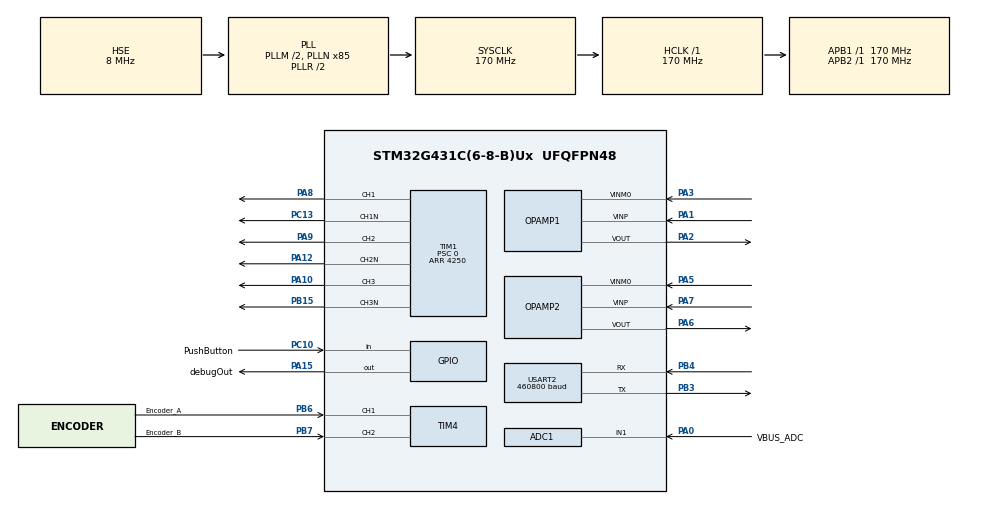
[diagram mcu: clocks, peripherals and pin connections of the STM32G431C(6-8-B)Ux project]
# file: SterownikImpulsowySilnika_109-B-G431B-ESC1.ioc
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ADC1.Channel-8\#ChannelRegularConversion=ADC_CHANNEL_1
ADC1.ClockPrescaler=ADC_CLOCK_ASYNC_DIV1
ADC1.ContinuousConvMode=DISABLE
ADC1.DMAContinuousRequests=DISABLE
ADC1.EnableInjectedConversion=ENABLE
ADC1.EnableRegularConversion=ENABLE
ADC1.ExternalTrigInjecConv=ADC_EXTERNALTRIGINJEC_T1_CC4
ADC1.InjNumberOfConversion=1
ADC1.InjectedChannel-6\#ChannelInjectedConversion=ADC_CHANNEL_3
ADC1.InjectedOffsetNumber-6\#ChannelInjectedConversion=ADC_OFFSET_NONE
ADC1.InjectedRank-6\#ChannelInjectedConversion=1
ADC1.InjectedSamplingTime-6\#ChannelInjectedConversion=ADC_SAMPLETIME_2CYCLES_5
ADC1.Mode=ADC_DUALMODE_REGSIMULT_INJECSIMULT
ADC1.NbrOfConversionFlag=1
ADC1.OffsetNumber-8\#ChannelRegularConversion=ADC_OFFSET_NONE
ADC1.Rank-8\#ChannelRegularConversion=1
ADC1.SamplingTime-8\#ChannelRegularConversion=ADC_SAMPLETIME_640CYCLES_5
ADC1.master=1
ADC2.ClockPrescaler=ADC_CLOCK_ASYNC_DIV1
ADC2.EnableInjectedConversion=ENABLE
ADC2.EnableRegularConversion=DISABLE
ADC2.InjNumberOfConversion=1
ADC2.InjectedChannel-8\#ChannelInjectedConversion=ADC_CHANNEL_3
ADC2.InjectedOffsetNumber-8\#ChannelInjectedConversion=ADC_OFFSET_NONE
ADC2.InjectedRank-8\#ChannelInjectedConversion=1
ADC2.InjectedSamplingTime-8\#ChannelInjectedConversion=ADC_SAMPLETIME_2CYCLES_5
ADC2.Mode=ADC_DUALMODE_REGSIMULT_INJECSIMULT
ADC2.Rank1_Channel=ADC_CHANNEL_3
Mcu.Family=STM32G4
Mcu.Name=STM32G431C(6-8-B)Ux
Mcu.Package=UFQFPN48
NVIC.ADC1_2_IRQn=true\:4\:0\:true\:false\:true\:true\:true\:true
NVIC.PriorityGroup=NVIC_PRIORITYGROUP_4
NVIC.TIM1_BRK_TIM15_IRQn=true\:4\:0\:true\:false\:true\:true\:true\:true
NVIC.TIM1_CC_IRQn=true\:4\:0\:true\:false\:true\:true\:true\:true
NVIC.TIM1_TRG_COM_TIM17_IRQn=true\:4\:0\:true\:false\:true\:true\:true\:true
NVIC.TIM1_UP_TIM16_IRQn=true\:4\:0\:true\:false\:true\:true\:true\:true
NVIC.TIM2_IRQn=true\:0\:0\:false\:false\:true\:true\:true\:true
NVIC.TIM4_IRQn=true\:0\:0\:false\:false\:true\:true\:true\:true
NVIC.USART2_IRQn=true\:8\:0\:true\:false\:true\:true\:true\:true
OPAMP1.PgaGain=OPAMP_PGA_GAIN_16_OR_MINUS_15
OPAMP2.PgaGain=OPAMP_PGA_GAIN_16_OR_MINUS_15
PA0.GPIO_Label=VBUS_ADC
PA0.Mode=IN1-Single-Ended
PA0.Signal=ADC1_IN1
PA1.Mode=PGA Connected-INVERTINGINPUT_IO0_BIAS
PA1.Signal=OPAMP1_VINP
PA10.Signal=S_TIM1_CH3
PA12.Mode=PWM Generation2 CH2 CH2N
PA12.Signal=TIM1_CH2N
PA13.Mode=Serial_Wire
PA13.Signal=SYS_JTMS-SWDIO
PA14.Mode=Serial_Wire
PA14.Signal=SYS_JTCK-SWCLK
PA15.GPIO_Label=debugOut
PA15.Signal=GPIO_Output
PA2.Signal=SharedAnalog_PA2
PA3.Mode=PGA Connected-INVERTINGINPUT_IO0_BIAS
PA3.Signal=OPAMP1_VINM0
PA5.Mode=PGA Connected-INVERTINGINPUT_IO0_BIAS
PA5.Signal=OPAMP2_VINM0
PA6.Signal=SharedAnalog_PA6
PA7.Mode=PGA Connected-INVERTINGINPUT_IO0_BIAS
PA7.Signal=OPAMP2_VINP
PA8.Signal=S_TIM1_CH1
PA9.Signal=S_TIM1_CH2
PB15.Mode=PWM Generation3 CH3 CH3N
PB15.Signal=TIM1_CH3N
PB3.Mode=Asynchronous
PB3.Signal=USART2_TX
PB4.Mode=Asynchronous
PB4.Signal=USART2_RX
PB6.GPIO_Label=Encoder_A
PB6.Signal=S_TIM4_CH1
PB7.GPIO_Label=Encoder_B
PB7.Signal=S_TIM4_CH2
PC10.GPIO_Label=PushButton
PC10.Signal=GPIO_Input
PC13.Mode=PWM Generation1 CH1 CH1N
PC13.Signal=TIM1_CH1N
PF0-OSC_IN.Mode=HSE-External-Oscillator
PF0-OSC_IN.Signal=RCC_OSC_IN
PF1-OSC_OUT.Mode=HSE-External-Oscillator
PF1-OSC_OUT.Signal=RCC_OSC_OUT
ProjectManager.HeapSize=0x200
ProjectManager.StackSize=0x400
ProjectManager.TargetToolchain=STM32CubeIDE
RCC.ADC12CLockSelection=RCC_ADC12CLKSOURCE_PLL
RCC.ADC12Freq_Value=42500000
RCC.AHBFreq_Value=170000000
RCC.APB1Freq_Value=170000000
RCC.APB1TimFreq_Value=170000000
RCC.APB2Freq_Value=170000000
RCC.APB2TimFreq_Value=170000000
RCC.CortexFreq_Value=170000000
RCC.EXTERNAL_CLOCK_VALUE=12288000
RCC.HCLKFreq_Value=170000000
RCC.HSE_VALUE=8000000
RCC.HSI48_VALUE=48000000
RCC.HSI_VALUE=16000000
RCC.LSE_VALUE=32768
RCC.PLLM=RCC_PLLM_DIV2
RCC.PLLN=85
RCC.PLLP=RCC_PLLP_DIV8
RCC.PLLSourceVirtual=RCC_PLLSOURCE_HSE
RCC.SYSCLKFreq_VALUE=170000000
RCC.SYSCLKSource=RCC_SYSCLKSOURCE_PLLCLK
RCC.USBFreq_Value=170000000
RCC.VCOOutputFreq_Value=340000000
SH.S_TIM1_CH1.0=TIM1_CH1,PWM Generation1 CH1 CH1N
SH.S_TIM1_CH2.0=TIM1_CH2,PWM Generation2 CH2 CH2N
SH.S_TIM1_CH3.0=TIM1_CH3,PWM Generation3 CH3 CH3N
SH.S_TIM4_CH1.0=TIM4_CH1,Encoder_Interface
SH.S_TIM4_CH2.0=TIM4_CH2,Encoder_Interface
SH.SharedAnalog_PA2.0=OPAMP1_VOUT,PGA Connected-INVERTINGINPUT_IO0_BIAS
SH.SharedAnalog_PA2.1=ADC1_IN3,IN3-Single-Ended
SH.SharedAnalog_PA6.0=OPAMP2_VOUT,PGA Connected-INVERTINGINPUT_IO0_BIAS
SH.SharedAnalog_PA6.1=ADC2_IN3,IN3-Single-Ended
TIM1.AutoReloadPreload=TIM_AUTORELOAD_PRELOAD_ENABLE
TIM1.BreakFilter=0
TIM1.BreakState=TIM_BREAK_DISABLE
TIM1.Channel-PWM\ Generation1\ CH1\ CH1N=TIM_CHANNEL_1
TIM1.Channel-PWM\ Generation2\ CH2\ CH2N=TIM_CHANNEL_2
TIM1.Channel-PWM\ Generation3\ CH3\ CH3N=TIM_CHANNEL_3
TIM1.Channel-PWM\ Generation4\ No\ Output=TIM_CHANNEL_4
TIM1.ClockDivision=TIM_CLOCKDIVISION_DIV2
TIM1.CounterMode=TIM_COUNTERMODE_CENTERALIGNED1
TIM1.DeadTime=85
TIM1.OCMode_PWM-PWM\ Generation4\ No\ Output=TIM_OCMODE_PWM1
TIM1.PeriodNoDither=4250
TIM1.Prescaler=0
TIM1.PulseNoDither_1=0
TIM1.PulseNoDither_2=0
TIM1.PulseNoDither_3=0
TIM1.PulseNoDither_4=4250-1
TIM1.RepetitionCounter=0
TIM1.TIM_MasterOutputTrigger=TIM_TRGO_OC4REF
TIM1.TIM_MasterOutputTrigger2=TIM_TRGO2_RESET
TIM2.Channel-Output\ Compare1\ No\ Output=TIM_CHANNEL_1
TIM2.OCMode_1=TIM_OCMODE_ACTIVE
TIM2.PeriodNoDither=1000-1
TIM2.Prescaler=17
TIM2.PulseNoDither_1=500-1
TIM4.EncoderMode=TIM_ENCODERMODE_TI12
USART2.BaudRate=460800
USART2.VirtualMode-Asynchronous=VM_ASYNC
VP_SYS_VS_DBSignals.Mode=DisableDeadBatterySignals
VP_TIM1_VS_ClockSourceINT.Mode=Internal
VP_TIM1_VS_no_output4.Mode=PWM Generation4 No Output
VP_TIM2_VS_ClockSourceINT.Mode=Internal
VP_TIM2_VS_no_output1.Mode=Output Compare1 No Output
board=custom

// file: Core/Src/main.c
/* USER CODE BEGIN Header */
/**
  ******************************************************************************
  * @file           : main.c
  * @brief          : Main program body
  ******************************************************************************
  * @attention
  *
  * Copyright (c) 2026 STMicroelectronics.
  * All rights reserved.
  *
  * This software is licensed under terms that can be found in the LICENSE file
  * in the root directory of this software component.
  * If no LICENSE file comes with this software, it is provided AS-IS.
  *
  ******************************************************************************
  */
/* USER CODE END Header */
#include "main.h"
#include "adc.h"
#include "opamp.h"
#include "tim.h"
#include "usart.h"
#include "gpio.h"

/* USER CODE BEGIN Includes */
#include "math.h"
#include "stdio.h"
#include "string.h"
#include "motorState.h"
#include "foc.h"
#include "trajectory.h"
#include "pid.h"
#include "focMath.h"

/* USER CODE END Includes */

/* USER CODE BEGIN PD */
#define UART_RX_LINE_LEN 32U
#define UART_RESPONSE_NONE 0U
#define UART_RESPONSE_PONG 1U
#define UART_RESPONSE_STATUS 2U
#define UART_RESPONSE_VERSION 3U
#define UART_RESPONSE_ERR 4U
#define UART_FAST_TELEMETRY_DIV 50UL
#define UART_DIAG_TELEMETRY_DIV 5000UL
#define UART_DIAG_TELEMETRY_OFFSET 2508UL
#define FW_UART_BAUDRATE 115200UL

#define FW_BRANCH_NAME "DZIALA"
#define FW_FEATURE_NAME "UART_RX_1_115200"

/* USER CODE END PD */

void SystemClock_Config(void);
/* USER CODE BEGIN PFP */
static void UART_RxStart(void);
static void UART_RxProcessByte(uint8_t byte);
static void UART_RxProcessLine(void);
static uint8_t UART_TxReady(void);
static uint8_t UART_TrySendResponse(void);

/* USER CODE END PFP */

/* USER CODE BEGIN 0 */

volatile MotorState state;
volatile FieldOrientedControl foc;
volatile MotorTrajectory traj;
volatile PID_Controller_t pos_pid, vel_pid, vd_pid, vq_pid;

float theta_e, zad_vref, przyrost_theta_e;
volatile uint32_t moj_cnt, coIleZmianaKierunku;

uint32_t MessageLength;
char Message[256];
volatile uint32_t uartWD, uartWD_Attemps;

volatile float mojZadanyPrad, mojaZadAmpPradu;

volatile float mojaZadPredk;

volatile float mojaZadPos, pos_A, pos_B;
volatile float czasTrajektorii;

static uint8_t uart2_rx_byte;
static char uart2_rx_line[UART_RX_LINE_LEN];
static volatile uint8_t uart2_rx_line_pos;
static volatile uint8_t uart2_pending_response;
static volatile uint32_t uart2_rx_cmd_cnt;
static volatile uint32_t uart2_rx_unknown_cnt;
static volatile uint32_t uart2_rx_overflow_cnt;

/* USER CODE END 0 */

int main(void)
{

  /* MCU Configuration--------------------------------------------------------*/

  /* Reset of all peripherals, Initializes the Flash interface and the Systick. */
  HAL_Init();

  /* Configure the system clock */
  SystemClock_Config();

  /* Initialize all configured peripherals */
  MX_GPIO_Init();
  MX_TIM4_Init();
  MX_ADC1_Init();
  MX_OPAMP1_Init();
  MX_OPAMP2_Init();
  MX_TIM1_Init();
  MX_ADC2_Init();
  MX_TIM2_Init();
  MX_USART2_UART_Init();
  /* USER CODE BEGIN 2 */

  	  uartWD = 0;
  	  uartWD_Attemps = 100;
	  UART_RxStart();

  	  mojZadanyPrad = 0.0;
  	  mojaZadAmpPradu = 0.0;
  	  mojaZadPredk = 0.0;
  	  mojaZadPos = 0.0;
  	  pos_A = 0.01;
  	  pos_B = -0.01;
  	  czasTrajektorii = 1.0;

	MotorState_Init(&state);
	FOC_Init(&foc, &htim1);

	//Inicjalizacja pos_pid
	pid_set_kp(&pos_pid, 10.0);
	pid_set_ki(&pos_pid, 0.0);
	pid_set_kd(&pos_pid, 0.0);
	pid_set_ts(&pos_pid, (float)TIM1->ARR/170000000*(float)foc.posLoopFreqDiv*2);
	pid_set_deadband(&pos_pid, 5e-6);
	pid_set_max_out(&pos_pid, 0.75);
	pid_set_max_out_dynamic(&pos_pid, 100);
	pid_set_d_filter_fc(&pos_pid, 1000.0);
	pid_set_max_d(&pos_pid, 0);
	pid_set_max_integral(&pos_pid, 0.25);

	/*
	 * Pasmo regulatora prędkości 5-10x wolniejsze niż prądowego
	 * Kp = m *wc /kf = 2kg * 177rad/s / 47N = 7.53
	 * Ki = m *wc^2 /kf = 2kg * 177^2 /47N = 1333.0
	 */

	//Inicjalizacja vel_pid
	pid_set_kp(&vel_pid, 7.53);
	pid_set_ki(&vel_pid, 1333.0);
	pid_set_kd(&vel_pid, 0.0);
	pid_set_ts(&vel_pid, (float)TIM1->ARR/170000000*(float)foc.velLoopFreqDiv*2);
	pid_set_deadband(&vel_pid, 1e-6);
	pid_set_max_out(&vel_pid, 3.0);
	pid_set_max_out_dynamic(&vel_pid, 100);
	pid_set_d_filter_fc(&vel_pid, 1000.0);
	pid_set_max_d(&vel_pid, 0);
	pid_set_max_integral(&vel_pid, 3.0);

	/*
	 * Pasmo regulatora prądowego
	 * tau = 5.64 ms <--> 177 rad/s
	 * wc = k *R /L = 5 *5 /0.0282 = 886 rad/s @k=5-RegulatorSrednioSzybki, k>10b.szybki, ryzyko oscylacji
	 * Kp = L * wc  = 0.0282 * 886 = 25
	 * Ki = R * wc = 5 * 886 = 4430
	 */

	//Inicjalizacja vd_pid
	pid_set_kp(&vd_pid, 25.0);
	pid_set_ki(&vd_pid, 4430.0);
	pid_set_kd(&vd_pid, 0.0);
	pid_set_ts(&vd_pid, (float)TIM1->ARR/170000000*(float)foc.currentLoopFreqDiv*2);
	pid_set_deadband(&vd_pid, 1e-6);
	pid_set_max_out(&vd_pid, 7.0);
	pid_set_max_out_dynamic(&vd_pid, 100);
	pid_set_d_filter_fc(&vd_pid, 1000.0);
	pid_set_max_d(&vd_pid, 0);
	pid_set_max_integral(&vd_pid, 5.0);

	//Inicjalizacja vq_pid
	pid_set_kp(&vq_pid, 25.0);
	pid_set_ki(&vq_pid, 4430.0);
	pid_set_kd(&vq_pid, 0.0);
	pid_set_ts(&vq_pid, (float)TIM1->ARR/170000000*(float)foc.currentLoopFreqDiv*2);
	pid_set_deadband(&vq_pid, 1e-6);
	pid_set_max_out(&vq_pid, 7.0);
	pid_set_max_out_dynamic(&vq_pid, 100);
	pid_set_d_filter_fc(&vq_pid, 1000.0);
	pid_set_max_d(&vq_pid, 0);
	pid_set_max_integral(&vq_pid, 5.0);

  /*
   * Uruchomienie opampów od shunt resistors
   */
	HAL_OPAMP_Start(&hopamp1);
	HAL_OPAMP_Start(&hopamp2);

  /*
   * Włączenie tranzystorów PWM
   */
	HAL_TIM_PWM_Start_IT(&htim1, TIM_CHANNEL_1);
	HAL_TIMEx_PWMN_Start_IT(&htim1, TIM_CHANNEL_1);
	HAL_TIM_PWM_Start_IT(&htim1, TIM_CHANNEL_2);
	HAL_TIMEx_PWMN_Start_IT(&htim1, TIM_CHANNEL_2);
	HAL_TIM_PWM_Start_IT(&htim1, TIM_CHANNEL_3);
	HAL_TIMEx_PWMN_Start_IT(&htim1, TIM_CHANNEL_3);

	/*
	 * Uruchomienie kanału synchronizacji wyzwalania ADC
	 */
	HAL_TIM_OC_Start_IT(&htim1, TIM_CHANNEL_4);

	/* Uruchomienie ADC */
	HAL_ADCEx_InjectedStart(&hadc2);
	HAL_ADCEx_InjectedStart_IT(&hadc1);

//	MotorState_InitVbusMeasure(&state, &hadc1);

	/*
	 * URUCHOMIENIE GŁÓWNEJ PĘTLI STERUJĄCEJ
	 */
	HAL_TIM_OC_Start_IT(&htim2, TIM_CHANNEL_1);

	/*
	 * WYPOZYCJONOWANIE
	 */

	EncoderStart(0);

	float temp_u, temp_v, temp_w;
	float temp_pwm_u, temp_pwm_v, temp_pwm_w;

	foc.max_PWM = TIM1->ARR * 0.9;

	przyrost_theta_e = 0.0;
	theta_e = 0.0;
	zad_vref = 0.0;
	coIleZmianaKierunku = 5000;

  /* USER CODE END 2 */

  /* Infinite loop */
  /* USER CODE BEGIN WHILE */
	while (1)
  {
		//Sprawdzenie czy silnik jest wypozycjonowany, jezeli nie jest to wypozycjonuje
		if(!state.HomingStarted){
		    FOC_MotorHomeStart(&state, &foc);
		}

		if(traj.traj_done){
			if(traj.dest_pos_m == pos_A){
				Trajectory_InitTrapezoid(&traj, state.pos_m, pos_B, czasTrajektorii);
			}
			else {
				Trajectory_InitTrapezoid(&traj, state.pos_m, pos_A, czasTrajektorii);
			}
		}

/*
		da = (1 + sin (theta_e))/2;
		db = (1 + sin(theta_e + M_PI*2/3))/2;
		dc = (1 + sin(theta_e - M_PI*2/3))/2;

		temp_pwm_u = foc.max_PWM * da;
		temp_pwm_v = foc.max_PWM * db;
		temp_pwm_w = foc.max_PWM * dc;

		FOC_SetPWMduty(&foc, (uint16_t)temp_pwm_u, (uint16_t)temp_pwm_v, (uint16_t)temp_pwm_w);
*/
  }
    /* USER CODE END WHILE */

}

void SystemClock_Config(void)
{
  RCC_OscInitTypeDef RCC_OscInitStruct = {0};
  RCC_ClkInitTypeDef RCC_ClkInitStruct = {0};

  /** Configure the main internal regulator output voltage
  */
  HAL_PWREx_ControlVoltageScaling(PWR_REGULATOR_VOLTAGE_SCALE1_BOOST);

  /** Initializes the RCC Oscillators according to the specified parameters
  * in the RCC_OscInitTypeDef structure.
  */
  RCC_OscInitStruct.OscillatorType = RCC_OSCILLATORTYPE_HSE;
  RCC_OscInitStruct.HSEState = RCC_HSE_ON;
  RCC_OscInitStruct.PLL.PLLState = RCC_PLL_ON;
  RCC_OscInitStruct.PLL.PLLSource = RCC_PLLSOURCE_HSE;
  RCC_OscInitStruct.PLL.PLLM = RCC_PLLM_DIV2;
  RCC_OscInitStruct.PLL.PLLN = 85;
  RCC_OscInitStruct.PLL.PLLP = RCC_PLLP_DIV8;
  RCC_OscInitStruct.PLL.PLLQ = RCC_PLLQ_DIV2;
  RCC_OscInitStruct.PLL.PLLR = RCC_PLLR_DIV2;
  if (HAL_RCC_OscConfig(&RCC_OscInitStruct) != HAL_OK)
  {
    Error_Handler();
  }

  /** Initializes the CPU, AHB and APB buses clocks
  */
  RCC_ClkInitStruct.ClockType = RCC_CLOCKTYPE_HCLK|RCC_CLOCKTYPE_SYSCLK
                              |RCC_CLOCKTYPE_PCLK1|RCC_CLOCKTYPE_PCLK2;
  RCC_ClkInitStruct.SYSCLKSource = RCC_SYSCLKSOURCE_PLLCLK;
  RCC_ClkInitStruct.AHBCLKDivider = RCC_SYSCLK_DIV1;
  RCC_ClkInitStruct.APB1CLKDivider = RCC_HCLK_DIV1;
  RCC_ClkInitStruct.APB2CLKDivider = RCC_HCLK_DIV1;

  if (HAL_RCC_ClockConfig(&RCC_ClkInitStruct, FLASH_LATENCY_4) != HAL_OK)
  {
    Error_Handler();
  }
}

/* USER CODE BEGIN 4 */
static void UART_RxStart(void)
{
	HAL_UART_Receive_IT(&huart2, &uart2_rx_byte, 1);
}

static uint8_t UART_TxReady(void)
{
	return (huart2.gState == HAL_UART_STATE_READY);
}

static void UART_RxProcessLine(void)
{
	if(strcmp(uart2_rx_line, "PING") == 0){
		uart2_pending_response = UART_RESPONSE_PONG;
		uart2_rx_cmd_cnt++;
	}
	else if(strcmp(uart2_rx_line, "GET_STATUS") == 0){
		uart2_pending_response = UART_RESPONSE_STATUS;
		uart2_rx_cmd_cnt++;
	}
	else if(strcmp(uart2_rx_line, "GET_VERSION") == 0){
		uart2_pending_response = UART_RESPONSE_VERSION;
		uart2_rx_cmd_cnt++;
	}
	else {
		uart2_pending_response = UART_RESPONSE_ERR;
		uart2_rx_unknown_cnt++;
	}
}

static void UART_RxProcessByte(uint8_t byte)
{
	if(byte == '\r' || byte == '\n'){
		if(uart2_rx_line_pos > 0U){
			uart2_rx_line[uart2_rx_line_pos] = '\0';
			UART_RxProcessLine();
			uart2_rx_line_pos = 0U;
		}
		return;
	}

	if(uart2_rx_line_pos >= (UART_RX_LINE_LEN - 1U)){
		uart2_rx_line_pos = 0U;
		uart2_rx_overflow_cnt++;
		uart2_pending_response = UART_RESPONSE_ERR;
		return;
	}

	uart2_rx_line[uart2_rx_line_pos] = (char)byte;
	uart2_rx_line_pos++;
}

static uint8_t UART_TrySendResponse(void)
{
	uint8_t response = uart2_pending_response;

	if(response == UART_RESPONSE_NONE || !UART_TxReady()){
		return 0U;
	}

	uart2_pending_response = UART_RESPONSE_NONE;

	switch(response){
		case UART_RESPONSE_PONG:
			MessageLength = sprintf(Message, "RSP;PONG\r\n");
			break;

		case UART_RESPONSE_STATUS:
			MessageLength = sprintf(Message,
					"RSP;STATUS;%ld;%ld;%ld;%ld;%lu;%lu;%lu\r\n",
					(int32_t)state.pos_um,
					(int32_t)(state.vel_m_s*1000),
					(int32_t)(state.Vbus*1000),
					(int32_t)foc.FocState,
					(unsigned long)state.HomingSuccessful,
					(unsigned long)state.HomingOngoing,
					(unsigned long)state.HomingStep);
			break;

		case UART_RESPONSE_VERSION:
			MessageLength = sprintf(Message,
					"RSP;VERSION;%s;%s;%lu\r\n",
					FW_BRANCH_NAME,
					FW_FEATURE_NAME,
					(unsigned long)FW_UART_BAUDRATE);
			break;

		default:
			MessageLength = sprintf(Message, "RSP;ERR;UNKNOWN_CMD\r\n");
			break;
	}

	HAL_UART_Transmit_IT(&huart2, (uint8_t*)Message, (uint16_t)MessageLength);
	return 1U;
}

void HAL_UART_RxCpltCallback(UART_HandleTypeDef *huart)
{
	if(huart->Instance == USART2){
		UART_RxProcessByte(uart2_rx_byte);
		UART_RxStart();
	}
}

void HAL_UART_ErrorCallback(UART_HandleTypeDef *huart)
{
	if(huart->Instance == USART2){
		uart2_rx_line_pos = 0U;
		UART_RxStart();
	}
}

void HAL_ADC_ConvCpltCallback(ADC_HandleTypeDef* hadc)
{
    if (hadc->Instance == ADC1)
    {
    	HAL_GPIO_WritePin(debugOut_GPIO_Port, debugOut_Pin, GPIO_PIN_SET);

    	state.VBUS_ADC = HAL_ADC_GetValue(hadc);
    	MotorState_VBUS_Calculate(&state);

    	HAL_GPIO_WritePin(debugOut_GPIO_Port, debugOut_Pin, GPIO_PIN_RESET);

    	/*
    	 * Tu wstawic zabezpieczenie UVLO itp.
    	 */
    }
}

void HAL_ADCEx_InjectedConvCpltCallback(ADC_HandleTypeDef* hadc)
{
    if(hadc->Instance == ADC1){

//    	HAL_GPIO_TogglePin(debugOut_GPIO_Port, debugOut_Pin);

    	/*
    	 * POMIAR PRĄDU W SILNIKU
    	 */
    	MotorState_UpdateCurrent(&state, &hadc1, &hadc2);

    	/*
    	 * AKTUALIZACJA AKTUALNEJ POZYCJI I PREDKOSCI
    	 */
    	MotorState_Update(&state, &htim4, state.dt_s);

    	/*
    	 * AKTUALIZACJA ZADANEJ POZYCJI I PRĘDKOŚCI
    	 */
    	Trajectory_Update(&traj, state.dt_s);

        /*
         * Pętla FOC
         */
    	switch (foc.FocState) {
			case foc_PosReg:
		    	FOC_PositionRegulation(&foc, &state, &traj,&vd_pid, &vq_pid, &vel_pid, &pos_pid);
				break;
			case foc_VelReg:
				FOC_VelocityRegulation(&foc, &state, &vd_pid, &vq_pid, &vel_pid);
				break;
			case foc_CurrReg:
		    	FOC_CurrentRegulation(&foc, &state, &vd_pid, &vq_pid);
				break;
			case foc_PosOpenLoop:
				FOC_OpenLoop_Position(&foc, &state);
				break;
			default:
				foc.iq_ref = 0;
		    	FOC_CurrentRegulation(&foc, &state, &vd_pid, &vq_pid);
				break;
		}

	}
}

void HAL_TIM_OC_DelayElapsedCallback(TIM_HandleTypeDef *htim)
{

    if (htim->Instance == TIM1 && htim->Channel == HAL_TIM_ACTIVE_CHANNEL_4)
    {
    	/*
    	 * ROZPOCZECIE POMIARU PRADU
    	 */
    }

    /*
     * PĘTLA STERUJĄCA
     */

    if (htim->Instance == TIM2 && htim->Channel == HAL_TIM_ACTIVE_CHANNEL_1){
    	//Pętla 10 kHz

    	/*
    	 * Pętla pozycjonowania Home
    	 */
    	foc.HomingLoopCnt++;
    	if(foc.HomingLoopCnt >= 10){
    		foc.HomingLoopCnt = 0;
        	if(!state.HomingSuccessful && state.HomingOngoing){
            	FOC_MotorHomeUpdate(&state, &foc, &traj, 0.001); //wyzwalanie co 1kHz
        	}
    	}

    	/*
    	 * Pętla pomiaru VBUS
    	 */
    	state.Vbus_freqCnt++;
    	if(state.Vbus_freqCnt >= 10){
    		state.Vbus_freqCnt = 0;
    		MotorState_VbusMeasureStart(&state, &hadc1);
    	}

    	moj_cnt++;
	UART_TrySendResponse();

		if(moj_cnt%UART_FAST_TELEMETRY_DIV == 0){
			if(UART_TxReady()){
			  	MessageLength = sprintf(Message,"%ld;%ld;%ld;%ld;%ld\r\n",
			  			(int32_t)(state.current_U*1000),
						(int32_t)(state.current_V*1000),
						(int32_t)(state.current_W*1000),
						(int32_t)state.pos_um,
						(int32_t)(state.vel_m_s*1000));
			   	HAL_UART_Transmit_IT(&huart2, (uint8_t*)Message, (uint16_t)MessageLength);
				uartWD = 0;
			}
			else {
				uartWD++;
			}

			if(uartWD>=(uartWD_Attemps)){
				HAL_UART_DeInit(&huart2);
				HAL_UART_Init(&huart2);
				UART_RxStart();
				uartWD = 0;
			}

		}

		if(moj_cnt%UART_DIAG_TELEMETRY_DIV == UART_DIAG_TELEMETRY_OFFSET){
			if(UART_TxReady()){
			  	MessageLength = sprintf(Message,
			  			"D;%lu;%ld;%ld;%ld;%ld;%ld;%ld;%d;%ld;%ld;%ld;%ld;%ld;%ld;%ld;%lu;%lu;%lu;%lu\r\n",
			  			(unsigned long)moj_cnt,
						(int32_t)(state.Vbus*1000),
						(int32_t)state.pos_um,
						(int32_t)(state.vel_m_s*1000),
						(int32_t)(traj.pos_set_m*1000000),
						(int32_t)(traj.vel_set_m_s*1000000),
						(int32_t)(traj.dest_pos_m*1000000),
						traj.traj_done,
						(int32_t)foc.FocState,
						(int32_t)(foc.iq_ref*1000),
						(int32_t)(foc.iq*1000),
						(int32_t)(foc.id_ref*1000),
						(int32_t)(foc.id*1000),
						(int32_t)(foc.vq_ref*1000),
						(int32_t)(state.theta_mech_rad*1000),
						(unsigned long)state.HomingStarted,
						(unsigned long)state.HomingOngoing,
						(unsigned long)state.HomingSuccessful,
						(unsigned long)state.HomingStep);
			   	HAL_UART_Transmit_IT(&huart2, (uint8_t*)Message, (uint16_t)MessageLength);
				uartWD = 0;
			}
		}

		//mojZadanyPrad = mojaZadAmpPradu * sinf(10*traj.t_elapsed_s);	//zadanie sin przebiegu pradu

		if(moj_cnt%coIleZmianaKierunku == 0){
			//theta_e = -theta_e;	//zmiana kierunku
			//mojZadanyPrad = -mojZadanyPrad;	//skokowa zmiana pradu
			//foc.vel_ref = -foc.vel_ref;
			//pos_A = -pos_A;
			//traj.dest_pos_m =
			//Trajectory_InitTrapezoid(&traj, state.pos_m, pos_A, czasTrajektorii);
			//mojaZadPos = -mojaZadPos;
			if (state.pos_m >= state.endstop_Left_m-0.005) {
				//foc.vel_ref = -foc.vel_ref;
			}
			if (state.pos_m <= state.endstop_Right_m+0.005) {
				//foc.vel_ref = -foc.vel_ref;
			}
		}
		if(moj_cnt>60000){
			moj_cnt = 1;	//wyzerowanie zmiennej
		}
    }
}

void HAL_TIM_PeriodElapsedCallback(TIM_HandleTypeDef *htim)
{
   //Wykrywanie przepełnienia licznika enkodera
   if(htim->Instance == TIM4){
       if (__HAL_TIM_IS_TIM_COUNTING_DOWN(htim))
           state.encoder_ext--;
       else
    	   state.encoder_ext++;
   }
}

/* USER CODE END 4 */

void Error_Handler(void)
{
  __disable_irq();
  while (1)
  {
  }
}
